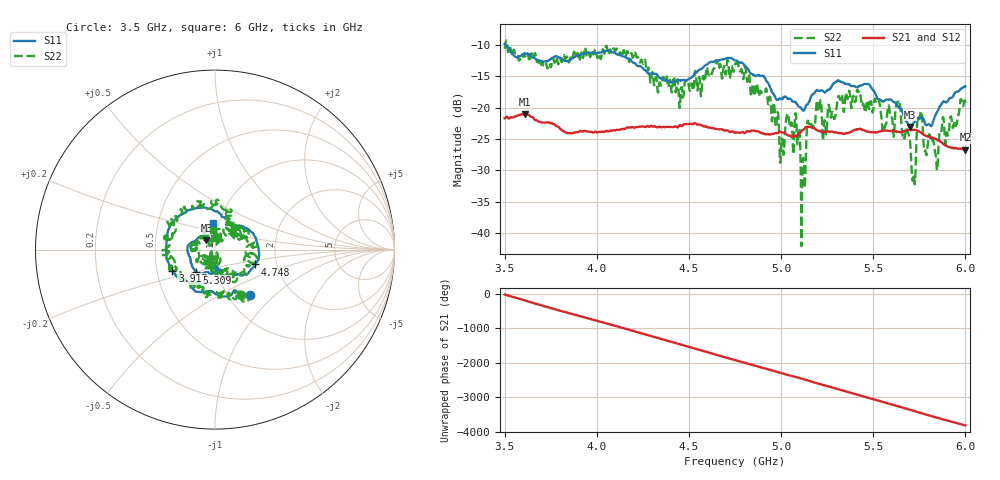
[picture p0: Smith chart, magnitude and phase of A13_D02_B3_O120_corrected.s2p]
! Created with skrf 1.9.0 (http://scikit-rf.org).
# Hz S RI R 50.0
!freq ReS11 ImS11 ReS21 ImS21 ReS12 ImS12 ReS22 ImS22
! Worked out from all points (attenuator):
!   1601 points, 3.5 GHz to 6 GHz, reference 50 ohm
!   highest |S21| = -21.04 dB at 3.611 GHz (marker M1); lowest = -26.7 dB at 6 GHz (marker M2)
!   lowest |S11| = -23.1 dB at 5.7 GHz (marker M3), VSWR 1.15, Z = 45.2 + j4.64 ohm
!   |S11| at or under -10 dB: 3.503 GHz to end of sweep
!   |S22| runs from -42.1 to -9.3 dB; largest |S21 - S12| = 0.00093
!   S11 on the Smith chart (normalised r, x): 3.5 GHz: 1.26, -0.71; 3.917 GHz: 0.60, -0.15; 4.748 GHz: 1.54, -0.27; 5.309 GHz: 0.79, -0.21; 6 GHz: 0.94, +0.28
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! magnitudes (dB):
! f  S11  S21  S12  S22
! 3.5 GHz  -9.9  -21.7  -21.7  -10.6
! 3.611 GHz  -11.4  -21.0  -21.0  -11.8
! 3.917 GHz  -11.5  -23.8  -23.8  -11.2
! 4.213 GHz  -13.1  -23.1  -23.1  -11.7
! 4.334 GHz  -15.1  -23.1  -23.0  -17.3
! 4.748 GHz  -12.5  -24.0  -24.0  -13.4
! 4.75 GHz  -12.5  -24.0  -24.0  -13.2
! 4.928 GHz  -16.0  -24.2  -24.2  -19.2
! 5.005 GHz  -18.6  -24.0  -24.0  -24.9
! 5.034 GHz  -18.6  -24.4  -24.3  -21.1
! 5.088 GHz  -19.5  -24.4  -24.4  -25.5
! 5.119 GHz  -20.4  -23.6  -23.5  -28.1
! 5.148 GHz  -19.3  -23.1  -23.1  -22.6
! 5.167 GHz  -18.0  -23.2  -23.2  -22.9
! 5.309 GHz  -15.7  -24.0  -24.0  -18.2
! 5.584 GHz  -18.8  -23.7  -23.7  -19.6
! 5.636 GHz  -19.9  -23.8  -23.8  -19.0
! 5.7 GHz  -23.1  -23.6  -23.5  -25.5
! 5.719 GHz  -22.4  -23.6  -23.5  -31.0
! 5.752 GHz  -21.7  -23.9  -23.8  -21.4
! 5.842 GHz  -21.0  -25.0  -25.0  -28.6
! 6 GHz  -16.6  -26.7  -26.6  -19.3
